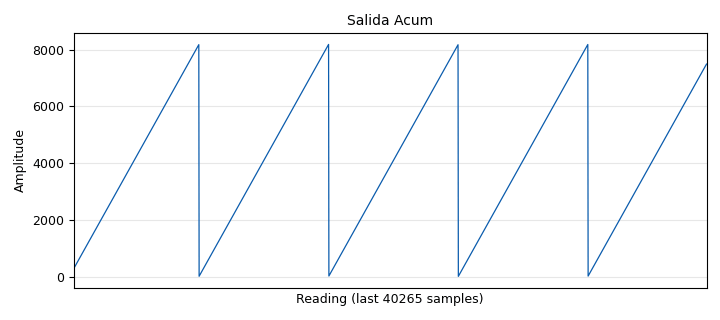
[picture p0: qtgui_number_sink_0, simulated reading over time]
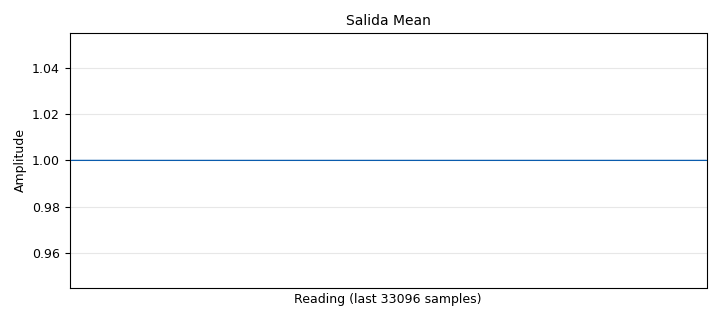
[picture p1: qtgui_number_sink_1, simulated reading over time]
options:
  parameters:
    generate_options: qt_gui
    id: P1_G8
    output_language: python
    title: P1_grupo8
  states: {}

blocks:
- name: samp_rate
  id: variable
  parameters:
    value: '32000'
  states: {}
- name: blocks_vector_source_x_0
  id: blocks_vector_source_x
  parameters:
    repeat: 'True'
    type: float
    vector: (1, 1, 1)
  states: {}
- name: epy_block_0
  id: epy_block
  parameters:
    _source_code: "\"\"\"\nEmbedded Python Blocks:\n\nEach time this file is saved, GRC will instantiate the first class it finds\nto get ports and parameters of your block. The arguments to __init__  will\nbe the parameters. All of them are required to have default values!\n\"\"\"\n\nimport numpy as np\nfrom gnuradio import gr\nclass blk (gr. sync_block ):\n\n\tdef __init__ ( self ) : # only default arguments here\n\t    gr.sync_block.__init__(\n\t        self,\n\t\tname ='e_Acum', # will show up in GRC\n\t\tin_sig =[ np.float32 ],\n\t\tout_sig =[ np.float32 ]\n\t     )\n\t     \n\tdef work (self,input_items, output_items):\n\t    x = input_items [0] # Senial de entrada.\n\t    y0 = output_items [0] # Senial acumulada\n\t    y0[:] = np.cumsum (x)\n            \n            \n            \n\t    return len (y0) \n\t\t\n\t\t\n"
  states: {}
- name: epy_block_1
  id: epy_block
  parameters:
    _source_code: |
      """
      Embedded Python Blocks:

      Each time this file is saved, GRC will instantiate the first class it finds
      to get ports and parameters of your block. The arguments to __init__  will
      be the parameters. All of them are required to have default values!
      """

      import numpy as np
      from gnuradio import gr

      class blk(gr.sync_block):
          def __init__(self):  # solo argumentos predeterminados aquí
              gr.sync_block.__init__(
                  self,
                  name='e_Diff',  # se mostrará en GRC
                  in_sig=[np.float32],
                  out_sig=[np.float32]
              )
              self.acum_anterior = 0

          def work(self, input_items, output_items):
              x = input_items[0]  # Señal de entrada.
              y0 = output_items[0]  # Señal acumulada diferencial

              N = len(x)
              diff = np.cumsum(x) - self.acum_anterior
              self.acum_anterior = diff[-1]  # Puede usar diff[-1] en lugar de diff[N-1]
              y0[:] = diff

              return len(output_items[0])  # Retorna el tamaño del buffer de salida
  states: {}
- name: epy_block_2
  id: epy_block
  parameters:
    _source_code: |
      """
      Embedded Python Blocks:

      Each time this file is saved, GRC will instantiate the first class it finds
      to get ports and parameters of your block. The arguments to __init__  will
      be the parameters. All of them are required to have default values!
      """

      import numpy as np
      from gnuradio import gr

      class blk(gr.sync_block):
          def __init__(self):  # solo argumentos predeterminados aquí
              gr.sync_block.__init__(
                  self,
                  name='e_Mean',  # se mostrará en GRC
                  in_sig=[np.float32],
                  out_sig=[np.float32]
              )
              
          def work(self, input_items, output_items):
              x = input_items[0]  # Señal de entrada.
              y0 = output_items[0]  # Señal acumulada

              # Calcula la suma acumulativa y luego divide por el índice + 1 para el promedio
              cumsum_x = np.cumsum(x)
              y0[:] = cumsum_x / (np.arange(len(x)) + 1)
              

              return len(output_items[0])  # Retorna el tamaño del buffer de salida
  states: {}
- name: qtgui_number_sink_0
  id: qtgui_number_sink
  parameters:
    graph_type: qtgui.NUM_GRAPH_HORIZ
    max: '10000'
    min: '-10000'
    name: '"Salida Acum"'
    type: float
  states: {}
- name: qtgui_number_sink_1
  id: qtgui_number_sink
  parameters:
    graph_type: qtgui.NUM_GRAPH_HORIZ
    max: '10000'
    min: '-10000'
    name: '"Salida Mean"'
    type: float
  states: {}
- name: qtgui_number_sink_2
  id: qtgui_number_sink
  parameters:
    graph_type: qtgui.NUM_GRAPH_HORIZ
    max: '10000'
    min: '-10000'
    name: '"Salida Diff"'
    type: float
  states: {}

connections:
- [blocks_vector_source_x_0, '0', epy_block_0, '0']
- [blocks_vector_source_x_0, '0', epy_block_1, '0']
- [blocks_vector_source_x_0, '0', epy_block_2, '0']
- [epy_block_0, '0', qtgui_number_sink_0, '0']
- [epy_block_1, '0', qtgui_number_sink_2, '0']
- [epy_block_2, '0', qtgui_number_sink_1, '0']

metadata:
  file_format: 1
  grc_version: 3.9.8.0
